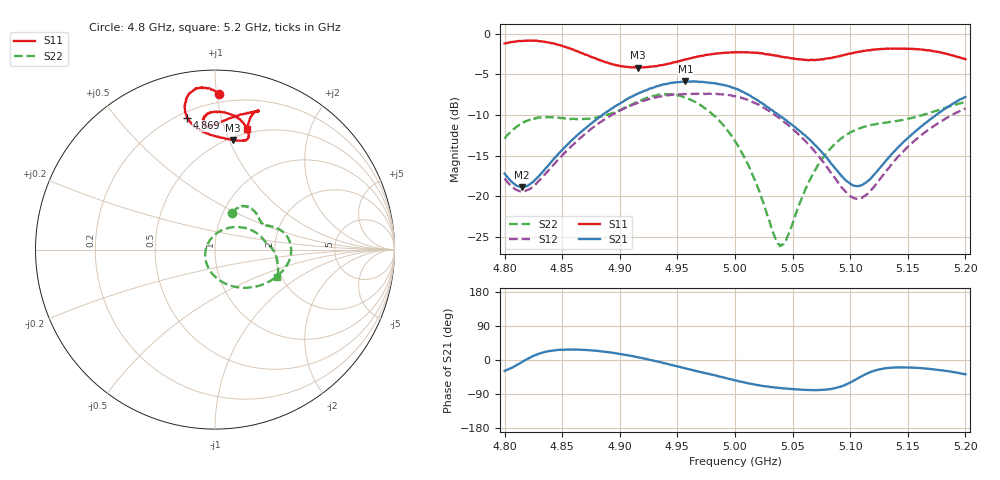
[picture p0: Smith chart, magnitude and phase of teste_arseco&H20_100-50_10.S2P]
! Network Analyzer HP8722D
! Hewlett-Packard
! Data name: Linha & Wilkinson
! Saver's name: Rodrigo Anjos
! Comments: Teste da utilização de aquisição
! continua pelo VNA HP8722D
! Time and date: 6/5/2025 12:39
!  Frequency  S11  S21  S12  S22
# HZ  S  MA R 50
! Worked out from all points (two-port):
!   401 points, 4.8 GHz to 5.2 GHz, reference 50 ohm
!   highest |S21| = -5.87 dB at 4.957 GHz (marker M1); lowest = -18.9 dB at 4.815 GHz (marker M2)
!   |S21| within 3 dB of the highest: 4.897 GHz to 5.027 GHz (129.9 MHz wide, 2.62 % of centre); 5.186371 GHz to end of sweep
!   lowest |S11| = -4.2 dB at 4.916 GHz (marker M3), VSWR 4.24, Z = 26.2 + j51.7 ohm
!   |S11| at or under -10 dB: nowhere
!   |S22| runs from -26.1 to -7.4 dB; largest |S21 - S12| = 0.88
!   S11 on the Smith chart (normalised r, x): 4.8 GHz: 0.14, +1.01; 4.869 GHz: 0.23, +0.78; 5.2 GHz: 0.46, +1.19
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4.8e9  0.8696 88.7  0.1382 -28.8  0.1289 99.7  0.2258 65.1
4.815e9  0.9008 93.2  0.114 -5.5  0.1073 120.0  0.2821 58.8
4.843e9  0.868 100.1  0.171 25.6  0.1579 150.1  0.3073 41.5
4.867e9  0.7606 101.9  0.251 26.8  0.2324 154.8  0.2987 30.8
4.869e9  0.7496 101.8  0.2581 26.7  0.2391 154.8  0.2986 30.4
4.894e9  0.6471 93.7  0.3492 19.0  0.3191 149.7  0.3257 24.2
4.916e9  0.6184 80.6  0.4283 7.0  0.3764 141.2  0.3829 16.2
4.934e9  0.638 74.1  0.4778 -5.1  0.4099 131.4  0.422 4.9
4.957e9  0.6951 75.0  0.509 -22.1  0.4257 116.8  0.4049 -14.5
4.981e9  0.7484 81.3  0.4965 -39.6  0.4258 101.5  0.3169 -39.3
5e9  0.7675 87.6  0.4601 -53.7  0.4137 88.1  0.2183 -66.6
5.019e9  0.7618 92.7  0.3923 -65.9  0.3694 75.0  0.1174 -105.1
5.033e9  0.7368 94.8  0.3349 -71.9  0.3228 67.1  0.06004 -155.1
5.039e9  0.722 95.1  0.312 -74.0  0.3004 64.7  0.04945 167.7
5.045e9  0.7144 95.5  0.2916 -75.7  0.2786 62.3  0.05543 129.4
5.067e9  0.6916 93.0  0.2162 -79.3  0.1971 58.6  0.1342 61.4
5.086e9  0.7157 86.7  0.1516 -74.9  0.1315 64.8  0.2078 35.2
5.105e9  0.7683 79.1  0.1157 -51.3  0.09693 92.2  0.2562 19.3
5.116e9  0.7888 75.2  0.1253 -34.0  0.1055 111.6  0.2719 13.4
5.134e9  0.8082 72.6  0.1749 -20.7  0.1509 126.4  0.2862 7.9
5.171e9  0.784 74.4  0.303 -24.2  0.2657 121.7  0.3289 -1.7
5.2e9  0.6957 75.1  0.408 -37.8  0.347 110.6  0.3802 -23.8
